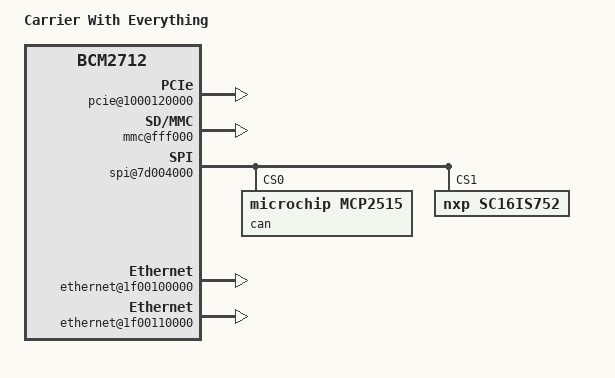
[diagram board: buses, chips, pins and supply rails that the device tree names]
/dts-v1/;
/ {
    model = "Carrier With Everything";
    compatible = "waveshare,cm5-io-wireless", "brcm,bcm2712";
    #address-cells = <1>;
    #size-cells = <1>;

    soc {
        compatible = "simple-bus";
        #address-cells = <1>;
        #size-cells = <1>;

        /* an enabled pcie root port: an M.2 slot is there */
        pcie@1000120000 {
            compatible = "brcm,bcm2712-pcie";
            reg = <0x20000 0x1000>;
            status = "okay";
        };

        mmc@fff000 {
            compatible = "brcm,bcm2712-sdhci";
            reg = <0xfff000 0x100>;
            status = "okay";
        };

        spi@7d004000 {
            compatible = "brcm,bcm2835-spi";
            reg = <0x7d004000 0x200>;
            #address-cells = <1>;
            #size-cells = <0>;

            can@0 {
                compatible = "microchip,mcp2515";
                reg = <0>;
                status = "okay";
            };

            /* a four-port uart expander, two ports with transceivers */
            sc16is752@1 {
                compatible = "nxp,sc16is752";
                reg = <1>;
                status = "okay";

                serial@0 {
                    rs485-rts-active-low;
                };
            };
        };

        ethernet@1f00100000 {
            compatible = "brcm,bcm2712-genet-v5";
            reg = <0x100000 0x1000>;
            status = "okay";
        };

        ethernet@1f00110000 {
            compatible = "microchip,lan7431";
            reg = <0x110000 0x1000>;
            status = "okay";
        };

        /* present and deliberately off: not a capability */
        csi@7c400000 {
            compatible = "brcm,bcm2712-csi2";
            reg = <0x7c400000 0x100>;
            status = "disabled";
        };
    };
};
